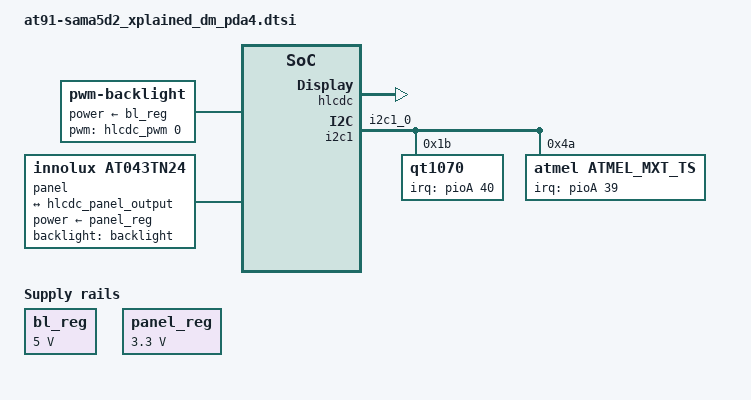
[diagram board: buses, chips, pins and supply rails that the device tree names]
/*
 * Device Tree Include file for PDA4 display module on SAMA5D2 Xplained board
 *
 *  Copyright (C) 2015 Atmel,
 *                2015 Nicolas Ferre <nicolas.ferre@atmel.com>
 *
 * This file is dual-licensed: you can use it either under the terms
 * of the GPL or the X11 license, at your option. Note that this dual
 * licensing only applies to this file, and not this project as a
 * whole.
 *
 *  a) This file is free software; you can redistribute it and/or
 *     modify it under the terms of the GNU General Public License as
 *     published by the Free Software Foundation; either version 2 of the
 *     License, or (at your option) any later version.
 *
 *     This file is distributed in the hope that it will be useful,
 *     but WITHOUT ANY WARRANTY; without even the implied warranty of
 *     MERCHANTABILITY or FITNESS FOR A PARTICULAR PURPOSE.  See the
 *     GNU General Public License for more details.
 *
 * Or, alternatively,
 *
 *  b) Permission is hereby granted, free of charge, to any person
 *     obtaining a copy of this software and associated documentation
 *     files (the "Software"), to deal in the Software without
 *     restriction, including without limitation the rights to use,
 *     copy, modify, merge, publish, distribute, sublicense, and/or
 *     sell copies of the Software, and to permit persons to whom the
 *     Software is furnished to do so, subject to the following
 *     conditions:
 *
 *     The above copyright notice and this permission notice shall be
 *     included in all copies or substantial portions of the Software.
 *
 *     THE SOFTWARE IS PROVIDED "AS IS", WITHOUT WARRANTY OF ANY KIND,
 *     EXPRESS OR IMPLIED, INCLUDING BUT NOT LIMITED TO THE WARRANTIES
 *     OF MERCHANTABILITY, FITNESS FOR A PARTICULAR PURPOSE AND
 *     NONINFRINGEMENT. IN NO EVENT SHALL THE AUTHORS OR COPYRIGHT
 *     HOLDERS BE LIABLE FOR ANY CLAIM, DAMAGES OR OTHER LIABILITY,
 *     WHETHER IN AN ACTION OF CONTRACT, TORT OR OTHERWISE, ARISING
 *     FROM, OUT OF OR IN CONNECTION WITH THE SOFTWARE OR THE USE OR
 *     OTHER DEALINGS IN THE SOFTWARE.
 */

/ {
	ahb {
		apb {
			hlcdc: hlcdc@f0000000 {
				status = "okay";

				hlcdc-display-controller {
					pinctrl-names = "default";
					pinctrl-0 = <&pinctrl_lcd_base &pinctrl_lcd_rgb666>;

					port@0 {
						hlcdc_panel_output: endpoint@0 {
							reg = <0>;
							remote-endpoint = <&panel_input>;
						};
					};
				};

				hlcdc_pwm: hlcdc-pwm {
					pinctrl-names = "default";
					pinctrl-0 = <&pinctrl_lcd_pwm>;
				};
			};

			i2c1: i2c@fc028000 {
				pinctrl-names = "default";
				pinctrl-0 = <&pinctrl_i2c1_default>;
				status = "okay";

				qt1070: keyboard@1b {
					compatible = "qt1070";
					reg = <0x1b>;
					interrupt-parent = <&pioA>;
					interrupts = <40 0x0>;
					pinctrl-names = "default";
					pinctrl-0 = <&pinctrl_qt1070_irq>;
					wakeup-source;
				};

				atmel_mxt_ts@4a {
					compatible = "atmel,atmel_mxt_ts";
					reg = <0x4a>;
					interrupt-parent = <&pioA>;
					interrupts = <39 0x0>;
					pinctrl-names = "default";
					pinctrl-0 = <&pinctrl_mxt_irq>;
				};
			};

			pinctrl@fc038000 {
				group_defs {
					i2c1_0 {
						pins = <PIN_PD4__TWD1>,
						       <PIN_PD5__TWCK1>;
					};

					lcd_base_0 {
						pins = <PIN_PC30__LCDVSYNC>,	/* LCDVSYNC */
						       <PIN_PC31__LCDHSYNC>,	/* LCDHSYNC */
						       <PIN_PD1__LCDDEN>,	/* LCDDEN */
						       <PIN_PD0__LCDPCK>;	/* LCDPCK */
					};

					lcd_pwm_0 {
						pins = <PIN_PC28__LCDPWM>;	/* LCDPWM */
					};

					lcd_rgb666_0 {
						pins = <PIN_PC10__LCDDAT2>,
						       <PIN_PC11__LCDDAT3>,
						       <PIN_PC12__LCDDAT4>,
						       <PIN_PC13__LCDDAT5>,
						       <PIN_PC14__LCDDAT6>,
						       <PIN_PC15__LCDDAT7>,
						       <PIN_PC16__LCDDAT10>,
						       <PIN_PC17__LCDDAT11>,
						       <PIN_PC18__LCDDAT12>,
						       <PIN_PC19__LCDDAT13>,
						       <PIN_PC20__LCDDAT14>,
						       <PIN_PC21__LCDDAT15>,
						       <PIN_PC22__LCDDAT18>,
						       <PIN_PC23__LCDDAT19>,
						       <PIN_PC24__LCDDAT20>,
						       <PIN_PC25__LCDDAT21>,
						       <PIN_PC26__LCDDAT22>,
						       <PIN_PC27__LCDDAT23>;
					};

					mxt_irq {
						pins = <PIN_PB7>;
					};

					qt1070_irq {
						pins = <PIN_PB8>;
					};
				};

				pinctrl_i2c1_default: i2c1_default {
					mux {
						function = "A";
						groups = "i2c1_0";
					};

					conf {
						group = "i2c1_0";
						bias-disable;
					};
				};

				pinctrl_lcd_base: pinctrl_lcd_base {
					mux {
						function = "A";
						groups = "lcd_base_0";
					};

					conf {
						pins = <PIN_PC30__LCDVSYNC>,	/* LCDVSYNC */
						       <PIN_PC31__LCDHSYNC>,	/* LCDHSYNC */
						       <PIN_PD1__LCDDEN>,	/* LCDDEN */
						       <PIN_PD0__LCDPCK>;	/* LCDPCK */
						bias-disable;
					};

				};

				pinctrl_lcd_pwm: pinctrl_lcd_pwm {
					mux {
						function = "A";
						groups = "lcd_pwm_0";
					};

					conf {
						pins = <PIN_PC28__LCDPWM>;	/* LCDPWM */
						bias-disable;
					};
				};

				pinctrl_lcd_rgb666: pinctrl_lcd_rgb666 {
					mux {
						function = "A";
						groups = "lcd_rgb666_0";
					};

					conf {
						pins = <PIN_PC10__LCDDAT2>,
						       <PIN_PC11__LCDDAT3>,
						       <PIN_PC12__LCDDAT4>,
						       <PIN_PC13__LCDDAT5>,
						       <PIN_PC14__LCDDAT6>,
						       <PIN_PC15__LCDDAT7>,
						       <PIN_PC16__LCDDAT10>,
						       <PIN_PC17__LCDDAT11>,
						       <PIN_PC18__LCDDAT12>,
						       <PIN_PC19__LCDDAT13>,
						       <PIN_PC20__LCDDAT14>,
						       <PIN_PC21__LCDDAT15>,
						       <PIN_PC22__LCDDAT18>,
						       <PIN_PC23__LCDDAT19>,
						       <PIN_PC24__LCDDAT20>,
						       <PIN_PC25__LCDDAT21>,
						       <PIN_PC26__LCDDAT22>,
						       <PIN_PC27__LCDDAT23>;
						bias-disable;
					};
				};

				pinctrl_mxt_irq: pinctrl_mxt_irq {
					mux {
						function = "GPIO";
						groups = "mxt_irq";
					};

					conf {
						pins = <PIN_PB7>;
						bias-pull-up;
						input-debounce = <1>;
					};
				};

				pinctrl_qt1070_irq: pinctrl_qt1070_irq {
					mux {
						function = "GPIO";
						groups = "qt1070_irq";
					};

					conf {
						pins = <PIN_PB8>;
						bias-pull-up;
						input-debounce = <1>;
					};
				};
			};
		};
	};

	backlight: backlight {
		compatible = "pwm-backlight";
		pwms = <&hlcdc_pwm 0 50000 0>;
		brightness-levels = <0 4 8 16 32 64 128 255>;
		default-brightness-level = <6>;
		power-supply = <&bl_reg>;
		status = "okay";
	};

	bl_reg: backlight_regulator {
		compatible = "regulator-fixed";
		regulator-name = "backlight-power-supply";
		regulator-min-microvolt = <5000000>;
		regulator-max-microvolt = <5000000>;
		status = "okay";
	};

	panel: panel {
		compatible = "innolux,at043tn24", "simple-panel";
		backlight = <&backlight>;
		power-supply = <&panel_reg>;
		#address-cells = <1>;
		#size-cells = <0>;
		status = "okay";

		port@0 {
			reg = <0>;
			#address-cells = <1>;
			#size-cells = <0>;

			panel_input: endpoint@0 {
				reg = <0>;
				remote-endpoint = <&hlcdc_panel_output>;
			};
		};
	};

	panel_reg: panel_regulator {
		compatible = "regulator-fixed";
		regulator-name = "panel-power-supply";
		regulator-min-microvolt = <3300000>;
		regulator-max-microvolt = <3300000>;
		status = "okay";
	};
};
